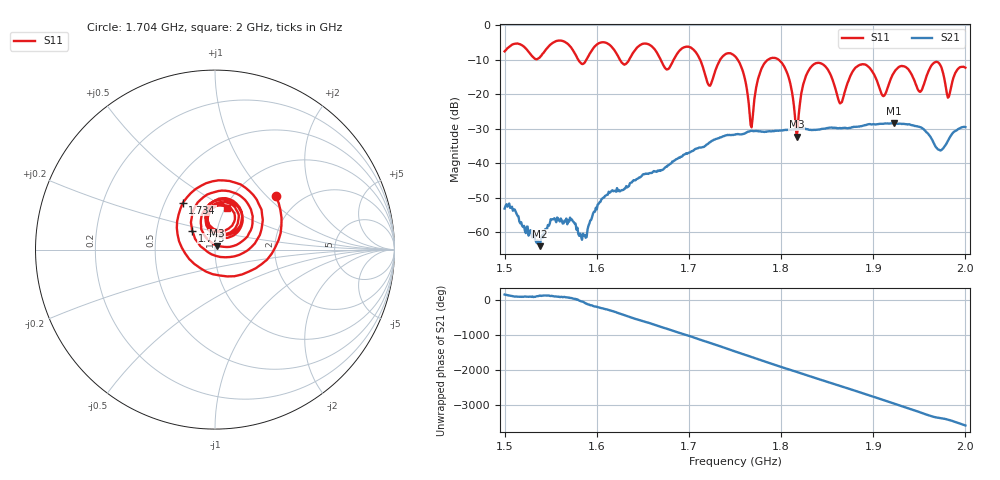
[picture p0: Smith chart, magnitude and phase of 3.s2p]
! NanoVNA-App by SYSJOINT et al v1.1.209 (+OD18)
! Date: 2026-01-21 14:52:02
! Start: 1,5GHz Stop: 2GHz Points: 501
! S-Parameter data: F S11 S21 S12 S22
# Hz S RI R 50
!  Frequency  S11_Real  S11_Imag  S21_Real  S21_Imag  S12_Real  S12_Imag  S22_Real  S22_Imag
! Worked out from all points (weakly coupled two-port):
!   501 points, 1.5 GHz to 2 GHz, reference 50 ohm
!   highest |S21| = -28.45 dB at 1.922 GHz (marker M1); lowest = -64.1 dB at 1.538 GHz (marker M2)
!   lowest |S11| = -32.3 dB at 1.817 GHz (marker M3), VSWR 1.05, Z = 50.9 + j2.28 ohm
!   |S11| at or under -10 dB: 1.712 GHz to 1.734 GHz (21.91 MHz wide, 1.27 % of centre); 1.753 GHz to 1.786 GHz (33.43 MHz wide, 1.89 % of centre); 1.797 GHz to end of sweep (the widest 3 of 6)
!   S12 and S22 are empty: the file has one direction only
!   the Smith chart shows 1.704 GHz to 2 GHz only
!   S11 on the Smith chart (normalised r, x): 1.704 GHz: 1.51, +1.13; 1.734 GHz: 0.62, +0.36; 1.775 GHz: 0.76, +0.17; 2 GHz: 1.02, +0.50
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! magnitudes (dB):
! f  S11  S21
! 1.5 GHz  -7.6  -53.2
! 1.538 GHz  -9.4  -64.1
! 1.552 GHz  -5.2  -56.3
! 1.584 GHz  -11.3  -62.2
! 1.667 GHz  -8.8  -42.3
! 1.704 GHz  -6.9  -36.5
! 1.722 GHz  -17.6  -34.1
! 1.734 GHz  -10.0  -32.5
! 1.75 GHz  -9.1  -31.8
! 1.767 GHz  -29.0  -30.7
! 1.775 GHz  -15.6  -30.7
! 1.8 GHz  -10.7  -30.6
! 1.817 GHz  -32.3  -30.1
! 1.834 GHz  -11.7  -30.4
! 1.864 GHz  -22.7  -29.8
! 1.886 GHz  -11.5  -29.3
! 1.917 GHz  -17.0  -28.6
! 1.922 GHz  -14.0  -28.4
! 1.951 GHz  -19.4  -29.6
! 1.97 GHz  -10.8  -36.0
! 1.982 GHz  -20.8  -33.1
! 2 GHz  -12.4  -29.6
